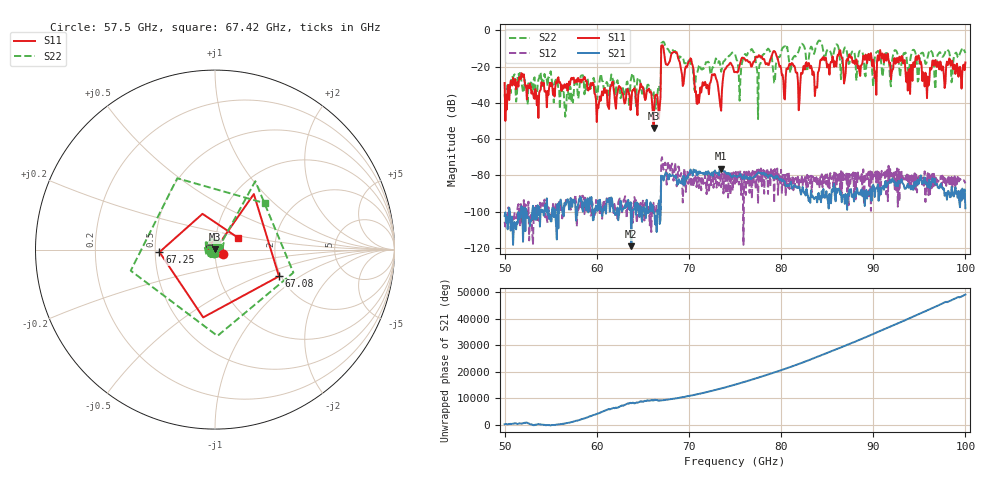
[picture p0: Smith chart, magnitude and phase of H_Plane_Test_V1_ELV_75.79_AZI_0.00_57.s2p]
! 11/27/2026 8:40:00 AM
! C:\ANRITSUVNA\TEMP\TEMP.S2P
! CHANNEL.1
! TR.MEASUREMENT
! RAW.DATA
# HZ S RI R 50.0
! FREQ.HZ  S11RE  S11IM  S21RE  S21IM  S12RE  S12IM  S22RE  S22IM
!; PortSelection: Port_12
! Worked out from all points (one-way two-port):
!   601 points, 50 GHz to 100 GHz, reference 50 ohm
!   highest |S21| = -76.29 dB at 73.5 GHz (marker M1); lowest = -119.0 dB at 63.75 GHz (marker M2)
!   lowest |S11| = -53.9 dB at 66.17 GHz (marker M3), VSWR 1.00, Z = 50.1 + j0.146 ohm
!   |S11| at or under -10 dB: start of sweep to 67 GHz; 67.24 GHz to end of sweep
!   |S22| runs from -48.9 to -5.6 dB; largest |S21 - S12| = 0.00036
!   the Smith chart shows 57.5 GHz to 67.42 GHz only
!   S11 on the Smith chart (normalised r, x): 57.5 GHz: 1.09, -0.05; 67.08 GHz: 1.95, -0.68; 67.25 GHz: 0.53, -0.02; 67.42 GHz: 1.29, +0.17
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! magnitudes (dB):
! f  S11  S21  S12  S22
! 50 GHz  -29.1  -102.3  -105.5  -35.3
! 57.5 GHz  -26.1  -94.6  -94.9  -34.5
! 58.42 GHz  -27.1  -98.2  -91.2  -24.8
! 60.17 GHz  -43.0  -93.8  -96.9  -30.1
! 63.75 GHz  -40.3  -119.0  -95.1  -26.1
! 66.17 GHz  -53.9  -100.6  -95.1  -34.0
! 66.67 GHz  -41.8  -98.5  -95.6  -31.6
! 67.08 GHz  -8.3  -81.7  -70.0  -6.8
! 67.25 GHz  -10.2  -82.8  -76.8  -6.3
! 67.42 GHz  -16.7  -79.1  -72.9  -8.4
! 70.17 GHz  -15.4  -76.7  -81.5  -18.6
! 70.67 GHz  -34.1  -77.5  -79.6  -32.7
! 73.5 GHz  -44.3  -76.3  -86.5  -22.8
! 75 GHz  -23.1  -80.3  -85.7  -13.0
! 77.58 GHz  -13.8  -78.4  -76.7  -21.7
! 78.5 GHz  -18.2  -80.1  -76.0  -10.8
! 79.33 GHz  -11.7  -81.4  -76.5  -28.8
! 80.25 GHz  -28.0  -82.9  -79.7  -9.4
! 83.42 GHz  -24.6  -91.2  -80.4  -10.8
! 91.67 GHz  -16.8  -83.6  -74.7  -15.2
! 95.83 GHz  -37.4  -84.1  -87.0  -16.4
! 100 GHz  -17.7  -98.1  -84.4  -12.5
